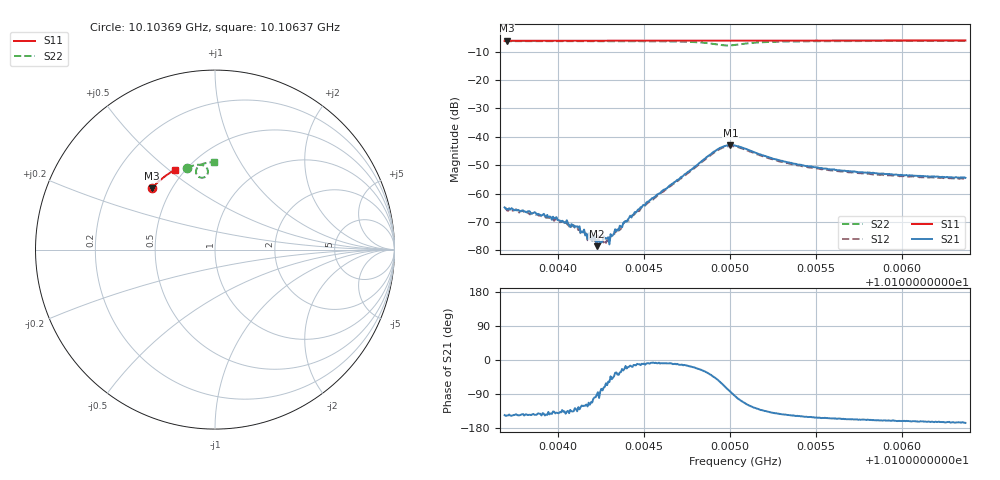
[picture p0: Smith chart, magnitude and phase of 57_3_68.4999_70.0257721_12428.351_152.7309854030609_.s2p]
#  HZ  S  RI  R  50.00
! Rohde & Schwarz Vector Network Analyzer
! Rohde-Schwarz,ZNB20-2Port,1311601062101988,3.16
! Created: UTC 3/20/2024, 4:51:05 PM
! freq[Hz]  re:S11  im:S11  re:S21  im:S21  re:S12  im:S12  re:S22  im:S22
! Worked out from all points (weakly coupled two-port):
!   401 points, 10.10369 GHz to 10.10637 GHz, reference 50 ohm
!   highest |S21| = -42.94 dB at 10.105 GHz (marker M1); lowest = -78.5 dB at 10.10422 GHz (marker M2)
!   lowest |S11| = -6.2 dB at 10.1037 GHz (marker M3), VSWR 2.92, Z = 19.6 + j17.6 ohm
!   |S11| at or under -10 dB: nowhere
!   |S22| runs from -7.8 to -6.2 dB; largest |S21 - S12| = 0.00072
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1.0103687e10  -0.3513 0.3421  -0.000471 -0.000324  -0.000433 -0.000339  -0.1554 0.4571
1.0103701e10  -0.3507 0.3426  -0.000443 -0.000295  -0.000386 -0.000327  -0.1546 0.4575
1.0103922e10  -0.3416 0.3528  -0.000338 -0.000225  -0.000296 -0.00026  -0.1398 0.4626
1.0104029e10  -0.3371 0.3575  -0.000231 -0.000217  -0.000204 -0.000249  -0.1322 0.465
1.010411e10  -0.3336 0.361  -0.000189 -0.000187  -0.000156 -0.000202  -0.1264 0.4666
1.0104137e10  -0.3325 0.3621  -0.000108 -0.000186  -0.000117 -0.000152  -0.1244 0.4672
1.0104184e10  -0.3304 0.3641  -9.38e-05 -0.000177  -5.79e-05 -0.00015  -0.121 0.468
1.0104224e10  -0.3287 0.3659  -3.76e-06 -0.000119  8.58e-06 -0.000154  -0.1178 0.4688
1.0104237e10  -0.3282 0.3664  -2.66e-05 -0.000149  1.31e-05 -0.000125  -0.1166 0.4692
1.0104251e10  -0.3276 0.367  3.36e-05 -0.000136  5.08e-05 -0.000128  -0.1156 0.4694
1.0104291e10  -0.3257 0.3687  9.24e-05 -0.000143  9.02e-05 -9.77e-05  -0.1124 0.4701
1.0104311e10  -0.325 0.3695  0.000112 -0.000137  0.000134 -0.000127  -0.1107 0.4702
1.0104318e10  -0.3246 0.3698  0.000126 -0.000135  0.000154 -0.000103  -0.1102 0.4704
1.0104385e10  -0.3218 0.3727  0.000291 -0.000127  0.000307 -7.29e-05  -0.1045 0.4715
1.0104586e10  -0.3127 0.3808  0.000991 -0.000125  0.000945 -4.55e-05  -0.0841 0.4728
1.0104915e10  -0.2973 0.3935  0.00381 -0.00418  0.00402 -0.00367  -0.0403 0.4253
1.0105002e10  -0.2932 0.3967  0.000745 -0.00709  0.00131 -0.00675  -0.0761 0.4003
1.0105029e10  -0.2921 0.3977  -0.000643 -0.00699  2e-05 -0.00671  -0.0896 0.4048
1.0105283e10  -0.2802 0.4074  -0.00305 -0.00242  -0.00269 -0.00254  -0.0912 0.4646
1.0105478e10  -0.2706 0.4146  -0.0026 -0.00143  -0.00236 -0.00162  -0.0714 0.4761
1.0105927e10  -0.2482 0.4298  -0.00208 -0.000766  -0.0019 -0.000891  -0.0355 0.4851
1.010637e10  -0.225 0.4435  -0.00184 -0.000462  -0.00169 -0.000622  -0.00436 0.4885
